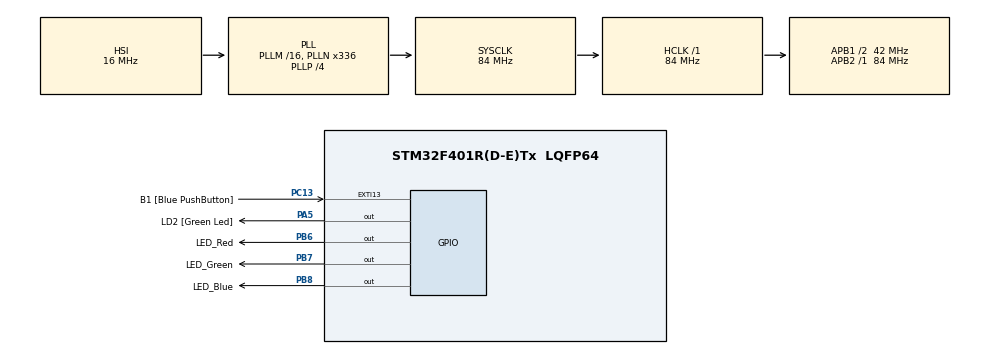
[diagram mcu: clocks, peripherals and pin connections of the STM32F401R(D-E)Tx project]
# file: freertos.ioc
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FREERTOS.Tasks01=defaultTask,0,128,StartDefaultTask,Default,NULL
Mcu.Family=STM32F4
Mcu.Name=STM32F401R(D-E)Tx
Mcu.Package=LQFP64
NVIC.PriorityGroup=NVIC_PRIORITYGROUP_4
NVIC.TIM1_TRG_COM_TIM11_IRQn=true\:0\:0\:false\:false\:true\:false\:true
NVIC.TimeBase=TIM1_TRG_COM_TIM11_IRQn
NVIC.TimeBaseIP=TIM11
PA13.GPIO_Label=TMS
PA13.Signal=SYS_JTMS-SWDIO
PA14.GPIO_Label=TCK
PA14.Signal=SYS_JTCK-SWCLK
PA2.GPIO_Label=USART_TX
PA2.GPIO_Mode=GPIO_MODE_AF_PP
PA2.GPIO_PuPd=GPIO_NOPULL
PA2.GPIO_Speed=GPIO_SPEED_FREQ_LOW
PA2.Signal=USART2_TX
PA3.GPIO_Label=USART_RX
PA3.GPIO_Mode=GPIO_MODE_AF_PP
PA3.GPIO_PuPd=GPIO_NOPULL
PA3.GPIO_Speed=GPIO_SPEED_FREQ_LOW
PA3.Signal=USART2_RX
PA5.GPIO_Label=LD2 [Green Led]
PA5.GPIO_Mode=GPIO_MODE_OUTPUT_PP
PA5.GPIO_PuPd=GPIO_NOPULL
PA5.GPIO_Speed=GPIO_SPEED_FREQ_LOW
PA5.Signal=GPIO_Output
PB3.GPIO_Label=SWO
PB3.Signal=SYS_JTDO-SWO
PB6.GPIO_Label=LED_Red
PB6.Signal=GPIO_Output
PB7.GPIO_Label=LED_Green
PB7.Signal=GPIO_Output
PB8.GPIO_Label=LED_Blue
PB8.Signal=GPIO_Output
PC13-ANTI_TAMP.GPIO_Label=B1 [Blue PushButton]
PC13-ANTI_TAMP.GPIO_ModeDefaultEXTI=GPIO_MODE_IT_FALLING
PC13-ANTI_TAMP.GPIO_PuPd=GPIO_NOPULL
PC13-ANTI_TAMP.Signal=GPXTI13
PC14-OSC32_IN.Mode=LSE-External-Clock-Source
PC14-OSC32_IN.Signal=RCC_OSC32_IN
PC15-OSC32_OUT.Mode=LSE-External-Clock-Source
PC15-OSC32_OUT.Signal=RCC_OSC32_OUT
PH0\ -\ OSC_IN.Mode=HSE-External-Oscillator
PH0\ -\ OSC_IN.Signal=RCC_OSC_IN
PH1\ -\ OSC_OUT.Mode=HSE-External-Oscillator
PH1\ -\ OSC_OUT.Signal=RCC_OSC_OUT
ProjectManager.HeapSize=0x200
ProjectManager.StackSize=0x400
ProjectManager.TargetToolchain=TrueSTUDIO
RCC.AHBFreq_Value=84000000
RCC.APB1CLKDivider=RCC_HCLK_DIV2
RCC.APB1Freq_Value=42000000
RCC.APB1TimFreq_Value=84000000
RCC.APB2Freq_Value=84000000
RCC.APB2TimFreq_Value=84000000
RCC.CortexFreq_Value=84000000
RCC.HCLKFreq_Value=84000000
RCC.HSE_VALUE=8000000
RCC.HSI_VALUE=16000000
RCC.LSE_VALUE=32768
RCC.PLLN=336
RCC.PLLP=RCC_PLLP_DIV4
RCC.PLLQ=7
RCC.SYSCLKFreq_VALUE=84000000
RCC.SYSCLKSource=RCC_SYSCLKSOURCE_PLLCLK
RCC.VCOOutputFreq_Value=336000000
VP_FREERTOS_VS_ENABLE.Mode=Enabled
VP_SYS_VS_tim11.Mode=TIM11
board=NUCLEO-F401RE

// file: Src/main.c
/**
  ******************************************************************************
  * File Name          : main.c
  * Description        : Main program body
  ******************************************************************************
  * This notice applies to any and all portions of this file
  * that are not between comment pairs USER CODE BEGIN and
  * USER CODE END. Other portions of this file, whether
  * inserted by the user or by software development tools
  * are owned by their respective copyright owners.
  *
  * Copyright (c) 2018 STMicroelectronics International N.V.
  * All rights reserved.
  *
  * Redistribution and use in source and binary forms, with or without
  * modification, are permitted, provided that the following conditions are met:
  *
  * 1. Redistribution of source code must retain the above copyright notice,
  *    this list of conditions and the following disclaimer.
  * 2. Redistributions in binary form must reproduce the above copyright notice,
  *    this list of conditions and the following disclaimer in the documentation
  *    and/or other materials provided with the distribution.
  * 3. Neither the name of STMicroelectronics nor the names of other
  *    contributors to this software may be used to endorse or promote products
  *    derived from this software without specific written permission.
  * 4. This software, including modifications and/or derivative works of this
  *    software, must execute solely and exclusively on microcontroller or
  *    microprocessor devices manufactured by or for STMicroelectronics.
  * 5. Redistribution and use of this software other than as permitted under
  *    this license is void and will automatically terminate your rights under
  *    this license.
  *
  * THIS SOFTWARE IS PROVIDED BY STMICROELECTRONICS AND CONTRIBUTORS "AS IS"
  * AND ANY EXPRESS, IMPLIED OR STATUTORY WARRANTIES, INCLUDING, BUT NOT
  * LIMITED TO, THE IMPLIED WARRANTIES OF MERCHANTABILITY, FITNESS FOR A
  * PARTICULAR PURPOSE AND NON-INFRINGEMENT OF THIRD PARTY INTELLECTUAL PROPERTY
  * RIGHTS ARE DISCLAIMED TO THE FULLEST EXTENT PERMITTED BY LAW. IN NO EVENT
  * SHALL STMICROELECTRONICS OR CONTRIBUTORS BE LIABLE FOR ANY DIRECT, INDIRECT,
  * INCIDENTAL, SPECIAL, EXEMPLARY, OR CONSEQUENTIAL DAMAGES (INCLUDING, BUT NOT
  * LIMITED TO, PROCUREMENT OF SUBSTITUTE GOODS OR SERVICES; LOSS OF USE, DATA,
  * OR PROFITS; OR BUSINESS INTERRUPTION) HOWEVER CAUSED AND ON ANY THEORY OF
  * LIABILITY, WHETHER IN CONTRACT, STRICT LIABILITY, OR TORT (INCLUDING
  * NEGLIGENCE OR OTHERWISE) ARISING IN ANY WAY OUT OF THE USE OF THIS SOFTWARE,
  * EVEN IF ADVISED OF THE POSSIBILITY OF SUCH DAMAGE.
  *
  ******************************************************************************
  */
#include "main.h"
#include "stm32f4xx_hal.h"
#include "cmsis_os.h"
#include "gpio.h"

/* USER CODE BEGIN PV */
/* Private variables ---------------------------------------------------------*/

/* USER CODE END PV */

void SystemClock_Config(void);
void MX_FREERTOS_Init(void);

/* USER CODE BEGIN PFP */
/* Private function prototypes -----------------------------------------------*/

/* USER CODE END PFP */

int main(void)
{

  /* USER CODE BEGIN 1 */
	/*
	HAL_GPIO_WritePin(LED_Red_GPIO_Port,LED_Red_Pin,GPIO_PIN_SET);
	HAL_GPIO_WritePin(LED_Green_GPIO_Port,LED_Green_Pin,GPIO_PIN_SET);
	HAL_GPIO_WritePin(LED_Blue_GPIO_Port,LED_Blue_Pin,GPIO_PIN_SET);
	HAL_Delay(1);
	HAL_GPIO_WritePin(LED_Red_GPIO_Port,LED_Red_Pin,GPIO_PIN_RESET);
	HAL_GPIO_WritePin(LED_Green_GPIO_Port,LED_Green_Pin,GPIO_PIN_SET);
	HAL_GPIO_WritePin(LED_Blue_GPIO_Port,LED_Blue_Pin,GPIO_PIN_SET);
	*/
  /* USER CODE END 1 */

  /* MCU Configuration----------------------------------------------------------*/

  /* Reset of all peripherals, Initializes the Flash interface and the Systick. */
  HAL_Init();

  /* Configure the system clock */
  SystemClock_Config();

  /* Initialize all configured peripherals */
  MX_GPIO_Init();

  /* Call init function for freertos objects (in freertos.c) */
  MX_FREERTOS_Init();

  /* Start scheduler */
  osKernelStart();

  /* We should never get here as control is now taken by the scheduler */

  /* Infinite loop */
  while (1)
  {

  }

}

/** System Clock Configuration
*/
void SystemClock_Config(void)
{

  RCC_OscInitTypeDef RCC_OscInitStruct;
  RCC_ClkInitTypeDef RCC_ClkInitStruct;

    /**Configure the main internal regulator output voltage
    */
  __HAL_RCC_PWR_CLK_ENABLE();

  __HAL_PWR_VOLTAGESCALING_CONFIG(PWR_REGULATOR_VOLTAGE_SCALE2);

    /**Initializes the CPU, AHB and APB busses clocks
    */
  RCC_OscInitStruct.OscillatorType = RCC_OSCILLATORTYPE_HSI;
  RCC_OscInitStruct.HSIState = RCC_HSI_ON;
  RCC_OscInitStruct.HSICalibrationValue = 16;
  RCC_OscInitStruct.PLL.PLLState = RCC_PLL_ON;
  RCC_OscInitStruct.PLL.PLLSource = RCC_PLLSOURCE_HSI;
  RCC_OscInitStruct.PLL.PLLM = 16;
  RCC_OscInitStruct.PLL.PLLN = 336;
  RCC_OscInitStruct.PLL.PLLP = RCC_PLLP_DIV4;
  RCC_OscInitStruct.PLL.PLLQ = 7;
  if (HAL_RCC_OscConfig(&RCC_OscInitStruct) != HAL_OK)
  {
    _Error_Handler(__FILE__, __LINE__);
  }

    /**Initializes the CPU, AHB and APB busses clocks
    */
  RCC_ClkInitStruct.ClockType = RCC_CLOCKTYPE_HCLK|RCC_CLOCKTYPE_SYSCLK
                              |RCC_CLOCKTYPE_PCLK1|RCC_CLOCKTYPE_PCLK2;
  RCC_ClkInitStruct.SYSCLKSource = RCC_SYSCLKSOURCE_PLLCLK;
  RCC_ClkInitStruct.AHBCLKDivider = RCC_SYSCLK_DIV1;
  RCC_ClkInitStruct.APB1CLKDivider = RCC_HCLK_DIV2;
  RCC_ClkInitStruct.APB2CLKDivider = RCC_HCLK_DIV1;

  if (HAL_RCC_ClockConfig(&RCC_ClkInitStruct, FLASH_LATENCY_2) != HAL_OK)
  {
    _Error_Handler(__FILE__, __LINE__);
  }

    /**Configure the Systick interrupt time
    */
  HAL_SYSTICK_Config(HAL_RCC_GetHCLKFreq()/1000);

    /**Configure the Systick
    */
  HAL_SYSTICK_CLKSourceConfig(SYSTICK_CLKSOURCE_HCLK);

  /* SysTick_IRQn interrupt configuration */
  HAL_NVIC_SetPriority(SysTick_IRQn, 15, 0);
}

void HAL_TIM_PeriodElapsedCallback(TIM_HandleTypeDef *htim)
{
  if (htim->Instance == TIM11) {
    HAL_IncTick();
  }
}

void _Error_Handler(char * file, int line)
{
  while(1)
  {
  }
}

/************************ (C) COPYRIGHT STMicroelectronics *****END OF FILE****/

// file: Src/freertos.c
/**
  ******************************************************************************
  * File Name          : freertos.c
  * Description        : Code for freertos applications
  ******************************************************************************
  * This notice applies to any and all portions of this file
  * that are not between comment pairs USER CODE BEGIN and
  * USER CODE END. Other portions of this file, whether
  * inserted by the user or by software development tools
  * are owned by their respective copyright owners.
  *
  * Copyright (c) 2018 STMicroelectronics International N.V.
  * All rights reserved.
  *
  * Redistribution and use in source and binary forms, with or without
  * modification, are permitted, provided that the following conditions are met:
  *
  * 1. Redistribution of source code must retain the above copyright notice,
  *    this list of conditions and the following disclaimer.
  * 2. Redistributions in binary form must reproduce the above copyright notice,
  *    this list of conditions and the following disclaimer in the documentation
  *    and/or other materials provided with the distribution.
  * 3. Neither the name of STMicroelectronics nor the names of other
  *    contributors to this software may be used to endorse or promote products
  *    derived from this software without specific written permission.
  * 4. This software, including modifications and/or derivative works of this
  *    software, must execute solely and exclusively on microcontroller or
  *    microprocessor devices manufactured by or for STMicroelectronics.
  * 5. Redistribution and use of this software other than as permitted under
  *    this license is void and will automatically terminate your rights under
  *    this license.
  *
  * THIS SOFTWARE IS PROVIDED BY STMICROELECTRONICS AND CONTRIBUTORS "AS IS"
  * AND ANY EXPRESS, IMPLIED OR STATUTORY WARRANTIES, INCLUDING, BUT NOT
  * LIMITED TO, THE IMPLIED WARRANTIES OF MERCHANTABILITY, FITNESS FOR A
  * PARTICULAR PURPOSE AND NON-INFRINGEMENT OF THIRD PARTY INTELLECTUAL PROPERTY
  * RIGHTS ARE DISCLAIMED TO THE FULLEST EXTENT PERMITTED BY LAW. IN NO EVENT
  * SHALL STMICROELECTRONICS OR CONTRIBUTORS BE LIABLE FOR ANY DIRECT, INDIRECT,
  * INCIDENTAL, SPECIAL, EXEMPLARY, OR CONSEQUENTIAL DAMAGES (INCLUDING, BUT NOT
  * LIMITED TO, PROCUREMENT OF SUBSTITUTE GOODS OR SERVICES; LOSS OF USE, DATA,
  * OR PROFITS; OR BUSINESS INTERRUPTION) HOWEVER CAUSED AND ON ANY THEORY OF
  * LIABILITY, WHETHER IN CONTRACT, STRICT LIABILITY, OR TORT (INCLUDING
  * NEGLIGENCE OR OTHERWISE) ARISING IN ANY WAY OUT OF THE USE OF THIS SOFTWARE,
  * EVEN IF ADVISED OF THE POSSIBILITY OF SUCH DAMAGE.
  *
  ******************************************************************************
  */

#include "FreeRTOS.h"
#include "task.h"
#include "cmsis_os.h"

/* USER CODE BEGIN Includes */
#include "gpio.h"
#include "semphr.h"
#include <stdbool.h>
/* USER CODE END Includes */

osThreadId defaultTaskHandle;
SemaphoreHandle_t LEDMutex;

void StartDefaultTask(void const * argument);

void MX_FREERTOS_Init(void); /* (MISRA C 2004 rule 8.1) */

/* USER CODE BEGIN FunctionPrototypes */
void LED_BlueBlink (void * pvParameters);
void LED_RedBlink (void * pvParameters);
void LED_GreenBlink (void * pvParameters);
void Delay_Nonsense(uint32_t * DelayCounter, uint32_t const * TargetCount);
/* USER CODE END FunctionPrototypes */

/* Hook prototypes */

/* Init FreeRTOS */

void MX_FREERTOS_Init(void) {
  /* USER CODE BEGIN Init */
void Delay_Nonsense(uint32_t * DelayCounter, uint32_t const * TargetCount)
{

	while (*DelayCounter <= *TargetCount)
	{
		*DelayCounter = *DelayCounter + 1;
	}

	*DelayCounter = 0;

}

void LED_BlueBlink (void * pvParameters)
{
	  const TickType_t xDelay = 500 / portTICK_PERIOD_MS;
	  uint32_t BlueDelay = 0;
	  const uint32_t TargetCount = 160000;

	  for(;;)
	  {
		  for (int i = 0; i <10; i++)
		  {
			  vTaskDelay(xDelay);
		  }
		  if ( xSemaphoreTake (LEDMutex, (TickType_t ) 10 ) == pdTRUE)
		  {
		  HAL_GPIO_WritePin(LED_Blue_GPIO_Port, LED_Blue_Pin, 0);
		  vTaskDelay(xDelay);
		  HAL_GPIO_WritePin(LED_Blue_GPIO_Port, LED_Blue_Pin, 1);
		  Delay_Nonsense(&BlueDelay, &TargetCount);
		  vTaskDelay(xDelay);
		  xSemaphoreGive(LEDMutex);
		  }
	  }
}

void LED_RedBlink (void * pvParameters)
{
	  const TickType_t xDelay = 100 / portTICK_PERIOD_MS;
	  uint32_t RedDelay = 0;
	  const uint32_t TargetCount = 160000;

	  for(;;)
	  {
		  for (int i = 0; i <10; i++)
		  {
			  vTaskDelay(xDelay);
		  }
		  if ( xSemaphoreTake (LEDMutex, (TickType_t ) 10 ) == pdTRUE)
		  {
		  HAL_GPIO_WritePin(LED_Red_GPIO_Port, LED_Red_Pin, 0);
		  vTaskDelay(xDelay);
		  HAL_GPIO_WritePin(LED_Red_GPIO_Port, LED_Red_Pin, 1);
		  Delay_Nonsense(&RedDelay, &TargetCount);
		  vTaskDelay(xDelay);
		  xSemaphoreGive(LEDMutex);
		  }
	  }
}

void LED_GreenBlink (void * pvParameters)
{
	  const TickType_t xDelay = 250 / portTICK_PERIOD_MS;
	  uint32_t GreenDelay = 0;
	  const uint32_t TargetCount = 200000;
	  xSemaphoreGive(LEDMutex);
	  for(;;)
	  {
		  for (int i = 0; i <10; i++)
		  {
			  vTaskDelay(xDelay);
		  }
		  if ( xSemaphoreTake (LEDMutex, (TickType_t ) 10 ) == pdTRUE)
		  {
		  HAL_GPIO_WritePin(LED_Green_GPIO_Port, LED_Green_Pin, 0);
		  vTaskDelay(xDelay);
		  HAL_GPIO_WritePin(LED_Green_GPIO_Port, LED_Green_Pin, 1);
		  Delay_Nonsense(&GreenDelay, &TargetCount);
		  vTaskDelay(xDelay);
		  xSemaphoreGive(LEDMutex);
		  }
	  }
}

  /* USER CODE END Init */

  /* Create the thread(s) */
  /* definition and creation of defaultTask */
  osThreadDef(defaultTask, StartDefaultTask, osPriorityNormal, 0, 128);
  defaultTaskHandle = osThreadCreate(osThread(defaultTask), NULL);

  xTaskCreate(LED_GreenBlink,
		  (const char * const)"led_green",
		  configMINIMAL_STACK_SIZE,
		  0,
		  3,
		  0);

  xTaskCreate(LED_RedBlink,
 		  (const char * const)"led_red",
 		  configMINIMAL_STACK_SIZE,
 		  0,
 		  2,
 		  0);

  xTaskCreate(LED_BlueBlink,
 		  (const char * const)"led_blue",
 		  configMINIMAL_STACK_SIZE,
 		  0,
 		  1,
 		  0);

  LEDMutex = xSemaphoreCreateMutex();

}

/* StartDefaultTask function */
void StartDefaultTask(void const * argument)
{

  for(;;)
  {
    osDelay(1);
  }
}

/************************ (C) COPYRIGHT STMicroelectronics *****END OF FILE****/
